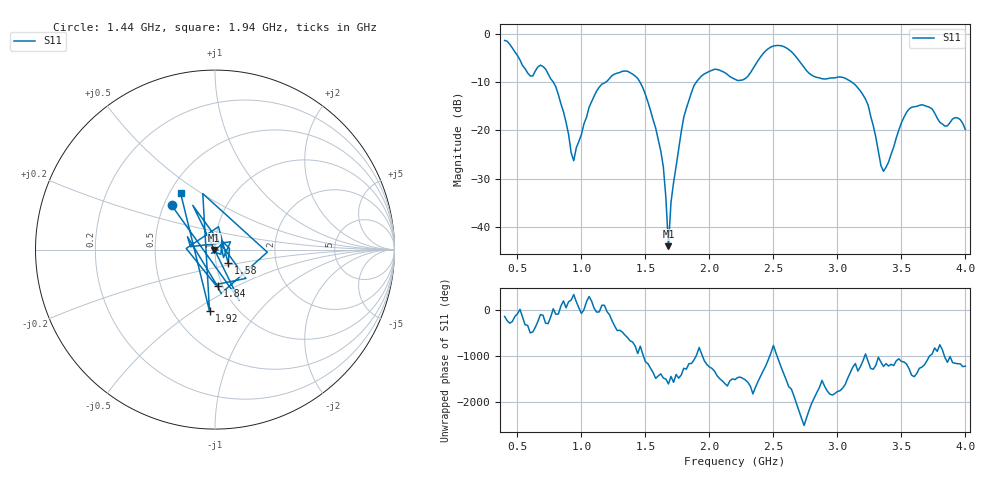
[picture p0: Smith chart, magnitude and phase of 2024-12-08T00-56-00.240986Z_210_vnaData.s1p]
!Created with skrf (http://scikit-rf.org).
# Hz S RI R 50.0
!freq ReS11 ImS11
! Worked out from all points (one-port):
!   181 points, 400 MHz to 4 GHz, reference 50 ohm
!   lowest |S11| = -44.0 dB at 1.68 GHz (marker M1), VSWR 1.01, Z = 49.4 - j0.133 ohm
!   |S11| at or under -10 dB: 780.6 MHz to 1.19 GHz (409.8 MHz wide, 41.6 % of centre); 1.458 GHz to 1.898 GHz (440.3 MHz wide, 26.2 % of centre); 3.112 GHz to end of sweep
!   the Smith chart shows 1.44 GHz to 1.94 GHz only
!   S11 on the Smith chart (normalised r, x): 1.44 GHz: 0.55, +0.31; 1.58 GHz: 1.14, -0.18; 1.84 GHz: 0.95, -0.40; 1.92 GHz: 0.75, -0.58; 1.94 GHz: 0.57, +0.41
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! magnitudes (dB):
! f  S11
! 400 MHz  -1.4
! 600 MHz  -8.7
! 720 MHz  -7.3
! 860 MHz  -16.2
! 940 MHz  -26.3
! 1.12 GHz  -11.8
! 1.3 GHz  -8.0
! 1.44 GHz  -9.2
! 1.58 GHz  -19.5
! 1.64 GHz  -27.5
! 1.68 GHz  -44.0
! 1.7 GHz  -34.9
! 1.76 GHz  -23.8
! 1.84 GHz  -13.8
! 1.92 GHz  -9.3
! 1.94 GHz  -8.7
! 2.2 GHz  -9.4
! 2.48 GHz  -2.7
! 2.66 GHz  -4.2
! 2.82 GHz  -8.9
! 3.1 GHz  -9.8
! 3.24 GHz  -14.8
! 3.36 GHz  -28.5
! 3.56 GHz  -15.6
! 3.72 GHz  -15.2
! 3.84 GHz  -19.1
! 3.94 GHz  -17.4
! 4 GHz  -19.8
